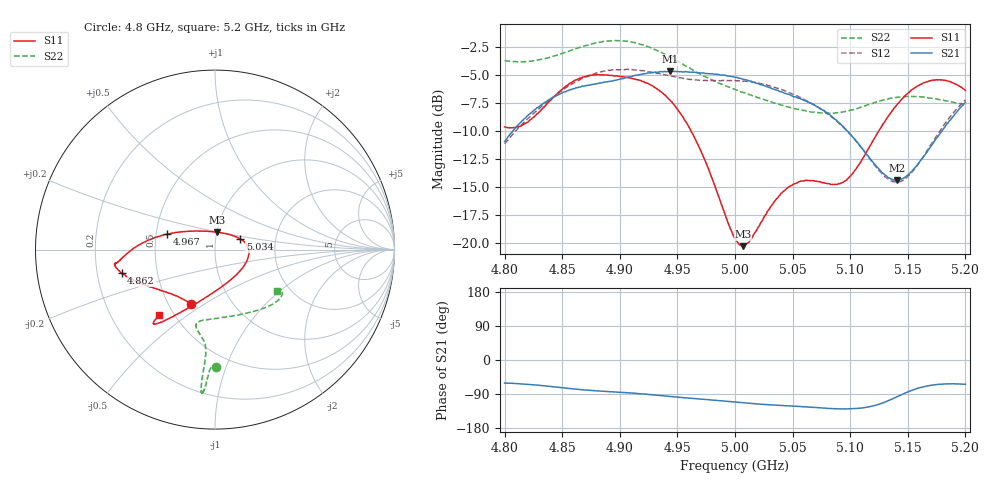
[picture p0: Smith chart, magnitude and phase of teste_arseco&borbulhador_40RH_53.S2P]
! Network Analyzer HP8722D
! Hewlett-Packard
! Data name: Linha & Wilkinson
! Saver's name: Rodrigo Anjos
! Comments: Teste da utilização de aquisição
! continua pelo VNA HP8722D
! Time and date: 15/4/2025 16:47
!  Frequency  S11  S21  S12  S22
# HZ  S  MA R 50
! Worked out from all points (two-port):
!   401 points, 4.8 GHz to 5.2 GHz, reference 50 ohm
!   highest |S21| = -4.64 dB at 4.944 GHz (marker M1); lowest = -14.4 dB at 5.141 GHz (marker M2)
!   |S21| within 3 dB of the highest: 4.832 GHz to 5.069 GHz (237 MHz wide, 4.79 % of centre); 5.198092 GHz to end of sweep
!   lowest |S11| = -20.3 dB at 5.007 GHz (marker M3), VSWR 1.21, Z = 50.4 + j9.78 ohm
!   |S11| at or under -10 dB: 4.962 GHz to 5.125 GHz (162.7 MHz wide, 3.23 % of centre)
!   |S22| runs from -8.4 to -1.9 dB; largest |S21 - S12| = 0.88
!   S11 on the Smith chart (normalised r, x): 4.8 GHz: 0.65, -0.44; 4.862 GHz: 0.31, -0.11; 4.967 GHz: 0.57, +0.11; 5.034 GHz: 1.32, +0.16; 5.2 GHz: 0.41, -0.39
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4.8e9  0.3309 -114.0  0.2845 -60.9  0.278 -175.1  0.6544 -89.5
4.819e9  0.3452 -133.8  0.3672 -64.0  0.3551 -173.5  0.6483 -91.3
4.862e9  0.5361 -165.9  0.4957 -76.9  0.5265 -176.7  0.7399 -93.7
4.867e9  0.5498 -167.8  0.5036 -78.3  0.5423 -177.7  0.7537 -93.8
4.9e9  0.5566 -172.3  0.5403 -85.1  0.5953 175.7  0.8032 -95.2
4.934e9  0.4825 -178.2  0.5822 -93.5  0.5734 171.8  0.7169 -95.7
4.944e9  0.433 177.3  0.586 -96.2  0.5584 172.0  0.6767 -95.5
4.967e9  0.2818 162.3  0.5783 -102.2  0.5355 173.9  0.5786 -95.1
5e9  0.1053 106.0  0.5509 -111.1  0.5338 176.3  0.486 -99.5
5.007e9  0.097 82.1  0.5404 -112.8  0.5285 176.2  0.4718 -100.9
5.013e9  0.1027 62.8  0.5306 -114.5  0.5251 175.9  0.46 -102.4
5.034e9  0.1529 23.0  0.4867 -119.0  0.4975 175.0  0.4232 -104.0
5.049e9  0.1809 7.0  0.4559 -121.3  0.4658 174.4  0.4022 -100.7
5.067e9  0.1905 -12.2  0.4182 -124.8  0.4198 174.1  0.3847 -91.7
5.087e9  0.1829 -44.8  0.357 -128.8  0.3557 173.5  0.3825 -76.7
5.097e9  0.1918 -65.8  0.3185 -129.0  0.3178 174.4  0.3887 -68.4
5.134e9  0.3748 -116.5  0.1952 -106.2  0.1917 -159.0  0.4426 -43.4
5.141e9  0.4177 -120.4  0.1911 -96.3  0.1877 -148.1  0.4489 -40.2
5.152e9  0.477 -124.8  0.2061 -81.7  0.203 -130.8  0.4524 -36.3
5.17e9  0.5326 -128.8  0.2706 -66.9  0.2751 -112.9  0.4447 -32.2
5.184e9  0.5311 -130.2  0.3411 -63.1  0.3519 -107.2  0.4318 -31.2
5.2e9  0.4815 -130.6  0.4255 -64.2  0.4368 -106.2  0.4159 -33.5
